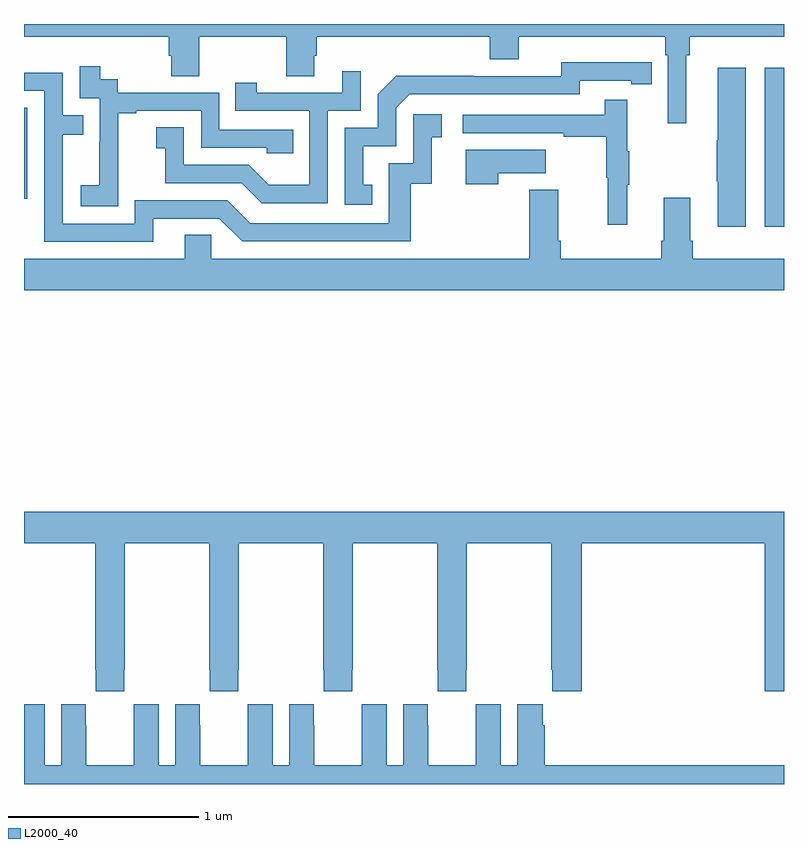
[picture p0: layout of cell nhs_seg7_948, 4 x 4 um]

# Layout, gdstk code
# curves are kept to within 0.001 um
import gdstk
lib = gdstk.Library(unit=1e-6, precision=1e-09)
def R(c, l, rs):  # rectangles x0, y0, x1, y1
    for r in rs: c.add(gdstk.rectangle(r[:2], r[2:], *l))
def P(c, l, *ps):  # polygons
    for p in ps: c.add(gdstk.Polygon(p, *l))
L2000_40 = (2000, 40)

nhs_seg7_948 = lib.new_cell('nhs_seg7_948')
R(nhs_seg7_948, L2000_40, [(184.898,1016.934,185,1017.769), (181,1017.081,181.017,1017.558)])
P(nhs_seg7_948, L2000_40, [(181,1017.932),(181.763,1017.932),(181.763,1017.834),(181.775,1017.834),(181.775,1017.724),(181.923,1017.724),(181.923,1017.932),(182.38,1017.932),(182.38,1017.724),(182.527,1017.724),(182.527,1017.834),(182.54,1017.834),(182.54,1017.932),(183.452,1017.932),(183.452,1017.815),(183.604,1017.815),(183.604,1017.932),(184.376,1017.932),(184.376,1017.836),(184.389,1017.836),(184.389,1017.477),(184.486,1017.477),(184.486,1017.836),(184.505,1017.836),(184.505,1017.932),(185,1017.932),(185,1018),(181,1018)],
  [(182.834,1017.153),(182.785,1017.153),(182.785,1017.357),(182.958,1017.357),(182.958,1017.558),(183.03,1017.63),(183.924,1017.63),(183.924,1017.702),(184.196,1017.702),(184.196,1017.682),(184.304,1017.682),(184.304,1017.798),(183.828,1017.799),(183.828,1017.726),(183.368,1017.726),(183.368,1017.728),(182.96,1017.728),(182.862,1017.63),(182.862,1017.453),(182.688,1017.453),(182.688,1017.048),(182.834,1017.048)],
  [(181.497,1017.247),(181.496,1017.247),(181.496,1017.531),(181.591,1017.531),(181.591,1017.543),(181.932,1017.543),(181.932,1017.348),(182.277,1017.348),(182.277,1017.321),(182.417,1017.321),(182.417,1017.444),(182.028,1017.444),(182.028,1017.639),(181.494,1017.639),(181.494,1017.708),(181.402,1017.708),(181.402,1017.778),(181.293,1017.778),(181.293,1017.609),(181.398,1017.609),(181.398,1017.38),(181.397,1017.38),(181.397,1017.151),(181.299,1017.151),(181.299,1017.041),(181.497,1017.041)],
  [(184.798,1017.769),(184.652,1017.769),(184.652,1017.389),(184.645,1017.389),(184.645,1017.172),(184.652,1017.172),(184.652,1016.934),(184.798,1016.934)],
  [(182.598,1017.543),(182.772,1017.543),(182.772,1017.751),(182.675,1017.751),(182.675,1017.639),(182.224,1017.639),(182.224,1017.691),(182.113,1017.691),(182.113,1017.543),(182.502,1017.543),(182.502,1017.154),(182.288,1017.154),(182.184,1017.258),(181.842,1017.258),(181.842,1017.457),(181.695,1017.457),(181.695,1017.347),(181.744,1017.347),(181.744,1017.162),(182.147,1017.162),(182.252,1017.057),(182.598,1017.057)],
  [(181.681,1016.976),(182.028,1016.976),(182.148,1016.856),(183.035,1016.856),(183.035,1017.159),(183.146,1017.159),(183.146,1017.405),(183.199,1017.405),(183.199,1017.526),(183.048,1017.526),(183.048,1017.267),(182.919,1017.267),(182.919,1016.952),(182.19,1016.952),(182.07,1017.072),(181.584,1017.072),(181.584,1016.949),(181.203,1016.949),(181.203,1017.418),(181.313,1017.418),(181.313,1017.519),(181.203,1017.519),(181.203,1017.744),(181,1017.744),(181,1017.648),(181.107,1017.648),(181.107,1016.853),(181.681,1016.853)],
  [(184.175,1017.155),(184.186,1017.155),(184.186,1017.329),(184.175,1017.329),(184.175,1017.601),(184.057,1017.601),(184.057,1017.522),(183.309,1017.522),(183.309,1017.426),(183.841,1017.426),(183.841,1017.406),(184.065,1017.406),(184.065,1017.192),(184.072,1017.192),(184.072,1016.943),(184.175,1016.943)],
  [(183.497,1017.215),(183.745,1017.215),(183.745,1017.337),(183.326,1017.337),(183.326,1017.156),(183.497,1017.156)],
  [(185,1016.764),(184.52,1016.764),(184.52,1016.86),(184.507,1016.86),(184.507,1017.085),(184.367,1017.085),(184.367,1016.86),(184.355,1016.86),(184.355,1016.764),(183.824,1016.764),(183.824,1016.86),(183.811,1016.86),(183.811,1017.127),(183.659,1017.127),(183.659,1016.764),(181.986,1016.764),(181.986,1016.891),(181.847,1016.891),(181.847,1016.764),(181,1016.764),(181,1016.6),(185,1016.6)],
  [(181.527,1014.601),(181.53,1014.601),(181.53,1015.268),(181.975,1015.268),(181.975,1014.601),(181.977,1014.601),(181.977,1014.489),(182.127,1014.489),(182.127,1014.601),(182.13,1014.601),(182.13,1015.268),(182.575,1015.268),(182.575,1014.601),(182.577,1014.601),(182.577,1014.489),(182.727,1014.489),(182.727,1014.601),(182.73,1014.601),(182.73,1015.268),(183.175,1015.268),(183.175,1014.601),(183.177,1014.601),(183.177,1014.489),(183.327,1014.489),(183.327,1014.601),(183.33,1014.601),(183.33,1015.268),(183.775,1015.268),(183.775,1014.601),(183.781,1014.601),(183.781,1014.489),(183.935,1014.489),(183.935,1015.268),(184.898,1015.268),(184.898,1014.489),(185,1014.489),(185,1015.432),(181,1015.432),(181,1015.268),(181.375,1015.268),(181.375,1014.601),(181.377,1014.601),(181.377,1014.489),(181.527,1014.489)],
  [(185,1014.1),(183.74,1014.1),(183.74,1014.308),(183.73,1014.308),(183.73,1014.421),(183.596,1014.421),(183.596,1014.1),(183.508,1014.1),(183.508,1014.421),(183.378,1014.421),(183.378,1014.308),(183.377,1014.308),(183.377,1014.1),(183.127,1014.1),(183.127,1014.308),(183.126,1014.308),(183.126,1014.421),(182.996,1014.421),(182.996,1014.1),(182.908,1014.1),(182.908,1014.421),(182.778,1014.421),(182.778,1014.308),(182.777,1014.308),(182.777,1014.1),(182.527,1014.1),(182.527,1014.308),(182.526,1014.308),(182.526,1014.421),(182.396,1014.421),(182.396,1014.1),(182.308,1014.1),(182.308,1014.421),(182.178,1014.421),(182.178,1014.308),(182.177,1014.308),(182.177,1014.1),(181.927,1014.1),(181.927,1014.308),(181.926,1014.308),(181.926,1014.421),(181.796,1014.421),(181.796,1014.1),(181.708,1014.1),(181.708,1014.421),(181.578,1014.421),(181.578,1014.308),(181.577,1014.308),(181.577,1014.1),(181.327,1014.1),(181.327,1014.308),(181.326,1014.308),(181.326,1014.421),(181.196,1014.421),(181.196,1014.1),(181.108,1014.1),(181.108,1014.421),(181,1014.421),(181,1014),(185,1014)])

lib.write_gds('nhs_seg7_948.gds')
